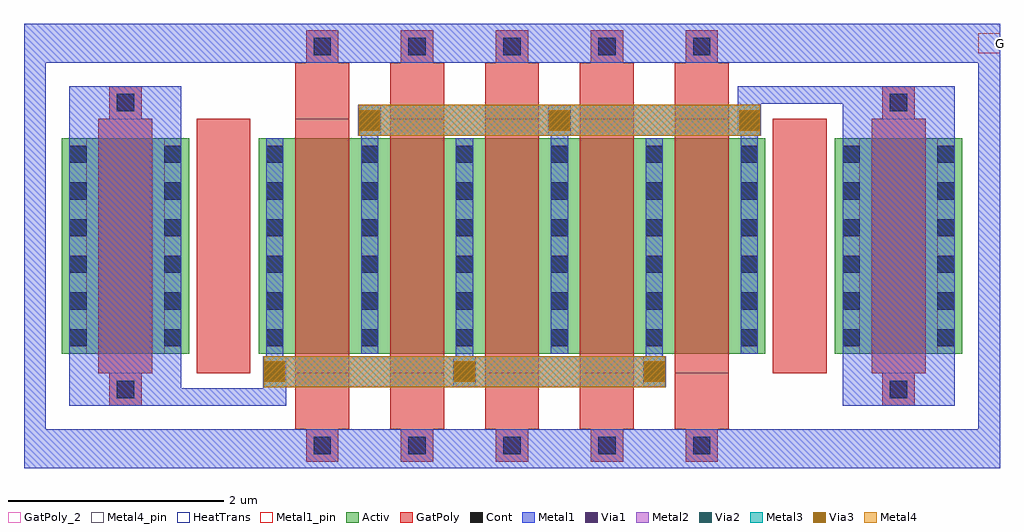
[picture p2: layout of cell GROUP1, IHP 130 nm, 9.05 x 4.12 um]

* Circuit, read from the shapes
.subckt GROUP1 G
XM1 nmos_priv1_0/D nmos_priv1_0/D nmos_priv1_0/D VSUBS sg13_lv_nmos w=2u l=0.5u
XM2 nmos_priv1_0/S G nmos_priv1_0/D VSUBS sg13_lv_nmos w=2u l=0.5u m=5
XM3 nmos_priv1_0/S nmos_priv1_0/S nmos_priv1_0/S VSUBS sg13_lv_nmos w=2u l=0.5u
.ends

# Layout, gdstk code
import gdstk
lib = gdstk.Library(unit=1e-6, precision=1e-09)
def R(c, l, rs):  # rectangles x0, y0, x1, y1
    for r in rs: c.add(gdstk.rectangle(r[:2], r[2:], *l))
def A(c, l, x, y, w, h, nx, ny, dx, dy):  # array of equal rectangles
    R(c, l, [(x+i*dx, y+j*dy, x+i*dx+w, y+j*dy+h) for i in range(nx) for j in range(ny)])
Activ = (1, 0)
GatPoly = (5, 0)
GatPoly_2 = (5, 2)
Cont = (6, 0)
Metal1 = (8, 0)
Metal1_pin = (8, 2)
Metal2 = (10, 0)
Via1 = (19, 0)
Via2 = (29, 0)
Metal3 = (30, 0)
Via3 = (49, 0)
Metal4 = (50, 0)
Metal4_pin = (50, 2)
HeatTrans = (51, 0)

nmos_priv1 = lib.new_cell('nmos_priv1')
A(nmos_priv1, Activ, 0, 0, 0.3, 0.3, 6, 1, 0.88, 0)
R(nmos_priv1, Activ, [(0,0,4.7,2)])
A(nmos_priv1, GatPoly, 0.44, -1, 0.3, 0.3, 5, 2, 0.88, 3.7)
A(nmos_priv1, GatPoly, 0.34, -0.7, 0.5, 0.52, 5, 2, 0.88, 2.88)
A(nmos_priv1, GatPoly, 0.34, -0.18, 0.5, 2.36, 5, 1, 0.88, 0)
R(nmos_priv1, GatPoly_2, [(0.34,-0.18,0.84,2.18)])
A(nmos_priv1, Cont, 0.51, -0.93, 0.16, 0.16, 5, 2, 0.88, 3.7)
A(nmos_priv1, Cont, 0.07, 0.07, 0.16, 0.16, 6, 6, 0.88, 0.34)
A(nmos_priv1, Metal1, 0.455, -1.06, 0.27, 0.36, 5, 2, 0.88, 3.76)
A(nmos_priv1, Metal1, 0.045, -0.31, 0.21, 0.29, 3, 1, 1.76, 0)
A(nmos_priv1, Metal1, 0.07, -0.035, 0.16, 0.05, 3, 1, 1.76, 0)
A(nmos_priv1, Metal1, 0.07, 0, 0.16, 2, 6, 1, 0.88, 0)
A(nmos_priv1, Metal1, 0.95, 1.985, 0.16, 0.05, 3, 1, 1.76, 0)
A(nmos_priv1, Metal1, 0.925, 2.02, 0.21, 0.29, 3, 1, 1.76, 0)
R(nmos_priv1, Metal1_pin, [(0.07,0,0.23,2), (0.95,0,1.11,2)])
A(nmos_priv1, Metal2, 0.05, -0.31, 0.2, 0.29, 3, 1, 1.76, 0)
A(nmos_priv1, Metal2, 0.93, 2.02, 0.2, 0.29, 3, 1, 1.76, 0)
R(nmos_priv1, Metal2, [(0.05,-0.31,3.77,-0.02), (0.93,2.02,4.65,2.31)])
A(nmos_priv1, Via1, 0.055, -0.26, 0.19, 0.19, 3, 1, 1.76, 0)
A(nmos_priv1, Via1, 0.935, 2.07, 0.19, 0.19, 3, 1, 1.76, 0)
A(nmos_priv1, Via2, 0.055, -0.26, 0.19, 0.19, 3, 1, 1.76, 0)
A(nmos_priv1, Via2, 0.935, 2.07, 0.19, 0.19, 3, 1, 1.76, 0)
A(nmos_priv1, Metal3, 0.05, -0.31, 0.2, 0.29, 3, 1, 1.76, 0)
A(nmos_priv1, Metal3, 0.93, 2.02, 0.2, 0.29, 3, 1, 1.76, 0)
R(nmos_priv1, Metal3, [(0.05,-0.31,3.77,-0.02), (0.93,2.02,4.65,2.31)])
A(nmos_priv1, Via3, 0.055, -0.26, 0.19, 0.19, 3, 1, 1.76, 0)
A(nmos_priv1, Via3, 0.935, 2.07, 0.19, 0.19, 3, 1, 1.76, 0)
A(nmos_priv1, Metal4, 0.05, -0.31, 0.2, 0.29, 3, 1, 1.76, 0)
A(nmos_priv1, Metal4, 0.93, 2.02, 0.2, 0.29, 3, 1, 1.76, 0)
R(nmos_priv1, Metal4, [(0.05,-0.31,3.77,-0.02), (0.93,2.02,4.65,2.31)])
R(nmos_priv1, Metal4_pin, [(3.575,-0.26,3.765,-0.07), (4.455,2.07,4.645,2.26)])
A(nmos_priv1, HeatTrans, 0.34, -0.18, 0.5, 2.36, 5, 1, 0.88, 0)
nmos_priv1.add(gdstk.Label('nmos', (0.59,1), layer=63, texttype=0))
nmos_priv1.add(gdstk.Label('nmos', (0.59,1), layer=51, texttype=0))
nmos_priv1.add(gdstk.Label('nmos', (1.47,1), layer=51, texttype=0))
nmos_priv1.add(gdstk.Label('nmos', (2.35,1), layer=51, texttype=0))
nmos_priv1.add(gdstk.Label('nmos', (3.23,1), layer=51, texttype=0))
nmos_priv1.add(gdstk.Label('nmos', (4.11,1), layer=51, texttype=0))
nmos_priv1.add(gdstk.Label('S', (4.55,2.165), layer=50, texttype=0))
nmos_priv1.add(gdstk.Label('D', (3.67,-0.165), layer=50, texttype=0))

nmos_2_priv1 = lib.new_cell('nmos$2_priv1')
R(nmos_2_priv1, Activ, [(0,0,0.3,0.3), (0,0,1.18,2), (0.88,0,1.18,0.3)])
R(nmos_2_priv1, GatPoly, [(0.44,-0.48,0.74,-0.18), (0.34,-0.18,0.84,2.18), (0.44,2.18,0.74,2.48)])
R(nmos_2_priv1, GatPoly_2, [(0.34,-0.18,0.84,2.18)])
A(nmos_2_priv1, Cont, 0.07, 0.07, 0.16, 0.16, 1, 6, 0, 0.34)
A(nmos_2_priv1, Cont, 0.95, 0.07, 0.16, 0.16, 1, 6, 0, 0.34)
R(nmos_2_priv1, Cont, [(0.51,-0.41,0.67,-0.25), (0.51,2.25,0.67,2.41)])
R(nmos_2_priv1, Metal1, [(0.07,-0.48,1.11,2.48), (0.07,0,0.23,2), (0.95,0,1.11,2)])
R(nmos_2_priv1, Metal1_pin, [(0.07,0,0.23,2), (0.95,0,1.11,2)])
R(nmos_2_priv1, HeatTrans, [(0.34,-0.18,0.84,2.18)])
nmos_2_priv1.add(gdstk.Label('nmos', (0.59,1), layer=63, texttype=0))
nmos_2_priv1.add(gdstk.Label('nmos', (0.59,1), layer=51, texttype=0))

nmos_2_priv2 = lib.new_cell('nmos$2_priv2')
R(nmos_2_priv2, Activ, [(0,0,0.3,0.3), (0,0,1.18,2), (0.88,0,1.18,0.3)])
R(nmos_2_priv2, GatPoly, [(0.44,-0.48,0.74,-0.18), (0.34,-0.18,0.84,2.18), (0.44,2.18,0.74,2.48)])
R(nmos_2_priv2, GatPoly_2, [(0.34,-0.18,0.84,2.18)])
A(nmos_2_priv2, Cont, 0.07, 0.07, 0.16, 0.16, 1, 6, 0, 0.34)
A(nmos_2_priv2, Cont, 0.95, 0.07, 0.16, 0.16, 1, 6, 0, 0.34)
R(nmos_2_priv2, Cont, [(0.51,-0.41,0.67,-0.25), (0.51,2.25,0.67,2.41)])
R(nmos_2_priv2, Metal1, [(0.07,-0.48,1.11,2.48), (0.07,0,0.23,2), (0.95,0,1.11,2)])
R(nmos_2_priv2, Metal1_pin, [(0.07,0,0.23,2), (0.95,0,1.11,2)])
R(nmos_2_priv2, HeatTrans, [(0.34,-0.18,0.84,2.18)])
nmos_2_priv2.add(gdstk.Label('nmos', (0.59,1), layer=63, texttype=0))
nmos_2_priv2.add(gdstk.Label('nmos', (0.59,1), layer=51, texttype=0))

group1 = lib.new_cell('GROUP1')
R(group1, GatPoly, [(279.085,-125.83,279.585,-123.47), (284.43,-125.83,284.93,-123.47)])
R(group1, Metal1, [(277.485,-126.71,286.535,-126.35), (277.485,-126.71,277.685,-122.59), (286.335,-126.71,286.535,-122.59), (278.945,-126.13,279.915,-125.97), (279.705,-125.97,279.915,-125.67), (284.105,-123.63,284.315,-123.33), (284.105,-123.33,285.075,-123.17), (277.485,-122.95,286.535,-122.59)])
R(group1, Metal1_pin, [(286.335,-122.865,286.535,-122.675)])
group1.add(gdstk.Reference(nmos_priv1, (279.66,-125.65)))
group1.add(gdstk.Reference(nmos_2_priv1, (277.835,-125.65)))
group1.add(gdstk.Reference(nmos_2_priv2, (285.005,-125.65)))
group1.add(gdstk.Label('G', (286.535,-122.77), layer=8, texttype=0))

lib.write_gds('GROUP1.gds')
